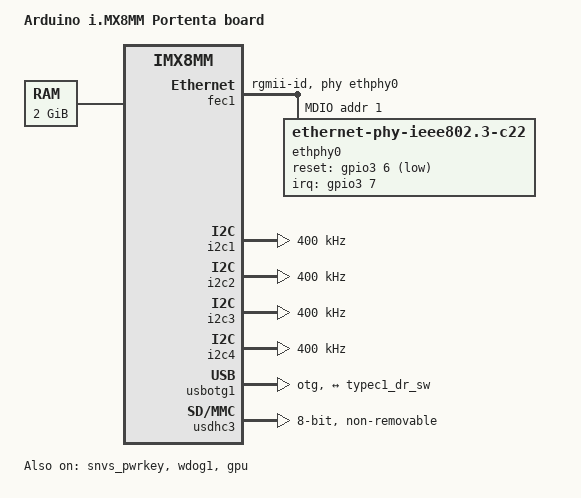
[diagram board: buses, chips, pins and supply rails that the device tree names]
/**
 * Portenta-MX8MM device tree definition file
 * Arduino 2021
 */

/dts-v1/;

#include <dt-bindings/usb/pd.h>
#include "imx8mm.dtsi"
#include "anx7625.dtsi"

/ {
	model = "Arduino i.MX8MM Portenta board";
	compatible = "fsl,imx8mm-evk", "fsl,imx8mm";

	memory@40000000 {
		device_type = "memory";
		reg = <0x0 0x40000000 0 0x80000000>;
	};
};

&ddrc {
	operating-points-v2 = <&ddrc_opp_table>;

	ddrc_opp_table: opp-table {
		compatible = "operating-points-v2";

		opp-25M {
			opp-hz = /bits/ 64 <25000000>;
		};

		opp-100M {
			opp-hz = /bits/ 64 <100000000>;
		};

		opp-750M {
			opp-hz = /bits/ 64 <750000000>;
		};
	};
};

&A53_0 {
	cpu-supply = <&buck2_reg>;
};

&A53_1 {
	cpu-supply = <&buck2_reg>;
};

&A53_2 {
	cpu-supply = <&buck2_reg>;
};

&A53_3 {
	cpu-supply = <&buck2_reg>;
};

&fec1 {
	pinctrl-names = "default";
	pinctrl-0 = <&pinctrl_fec1>;
	phy-mode = "rgmii-id";
	phy-handle = <&ethphy0>;
	fsl,magic-packet;
	status = "okay";

	mdio {
		#address-cells = <1>;
		#size-cells = <0>;

		ethphy0: ethernet-phy@0 {
			compatible = "ethernet-phy-ieee802.3-c22";
			reg = <1>;
			interrupt-parent = <&gpio3>;
			interrupts = <7 0>;
			reset-gpios = <&gpio3 6 GPIO_ACTIVE_LOW>;
			reset-assert-us = <100000>;
		};
	};
};

&i2c1 {
	clock-frequency = <400000>;
	pinctrl-names = "default";
	pinctrl-0 = <&pinctrl_i2c1>;
	status = "okay";
};

&i2c2 {
	clock-frequency = <400000>;
	pinctrl-names = "default";
	pinctrl-0 = <&pinctrl_i2c2>;
	status = "okay";
};

&i2c3 {
	clock-frequency = <400000>;
	pinctrl-names = "default";
	pinctrl-0 = <&pinctrl_i2c3>;
	status = "okay";
};

&i2c4 {
	clock-frequency = <400000>;
	pinctrl-names = "default";
	pinctrl-0 = <&pinctrl_i2c4>;
	status = "okay";
};

&snvs_pwrkey {
	status = "okay";
};

&usbotg1 { /* usbc */
	dr_mode = "otg";
	hnp-disable;
	srp-disable;
	adp-disable;
	usb-role-switch;
	disable-over-current;
	samsung,picophy-pre-emp-curr-control = <3>;
	samsung,picophy-dc-vol-level-adjust = <7>;
	status = "okay";

	port {
		usb1_drd_sw: endpoint {
			remote-endpoint = <&typec1_dr_sw>;
		};
	};
};

&usdhc3 { /* emmc flash */
	assigned-clocks = <&clk IMX8MM_CLK_USDHC3_ROOT>;
	assigned-clock-rates = <400000000>;
	pinctrl-names = "default", "state_100mhz", "state_200mhz";
	pinctrl-0 = <&pinctrl_usdhc3>;
	pinctrl-1 = <&pinctrl_usdhc3_100mhz>;
	pinctrl-2 = <&pinctrl_usdhc3_200mhz>;
	bus-width = <8>;
	non-removable;
	status = "okay";
};

&wdog1 {
	pinctrl-names = "default";
	pinctrl-0 = <&pinctrl_wdog>;
	fsl,ext-reset-output;
	status = "okay";
};

&gpu {
	status = "okay";
};

&iomuxc {
	pinctrl-names = "default";
	imx8mm {
		pinctrl_fec1: fec1grp {
			fsl,pins = <
				MX8MM_IOMUXC_ENET_MDC_ENET1_MDC			0x3
				MX8MM_IOMUXC_ENET_MDIO_ENET1_MDIO		0x3
				MX8MM_IOMUXC_ENET_TD3_ENET1_RGMII_TD3		0x1f
				MX8MM_IOMUXC_ENET_TD2_ENET1_RGMII_TD2		0x1f
				MX8MM_IOMUXC_ENET_TD1_ENET1_RGMII_TD1		0x1f
				MX8MM_IOMUXC_ENET_TD0_ENET1_RGMII_TD0		0x1f
				MX8MM_IOMUXC_ENET_RD3_ENET1_RGMII_RD3		0x91
				MX8MM_IOMUXC_ENET_RD2_ENET1_RGMII_RD2		0x91
				MX8MM_IOMUXC_ENET_RD1_ENET1_RGMII_RD1		0x91
				MX8MM_IOMUXC_ENET_RD0_ENET1_RGMII_RD0		0x91
				MX8MM_IOMUXC_ENET_TXC_ENET1_RGMII_TXC		0x1f
				MX8MM_IOMUXC_ENET_RXC_ENET1_RGMII_RXC		0x91
				MX8MM_IOMUXC_ENET_RX_CTL_ENET1_RGMII_RX_CTL	0x91
				MX8MM_IOMUXC_ENET_TX_CTL_ENET1_RGMII_TX_CTL	0x1f
				MX8MM_IOMUXC_NAND_DATA00_GPIO3_IO6		0x16
				MX8MM_IOMUXC_NAND_DATA01_GPIO3_IO7		0x41
			>;
		};

		pinctrl_i2c1: i2c1grp {
			fsl,pins = <
				MX8MM_IOMUXC_I2C1_SCL_I2C1_SCL			0x400001c3
				MX8MM_IOMUXC_I2C1_SDA_I2C1_SDA			0x400001c3
			>;
		};

		pinctrl_i2c2: i2c2grp {
			fsl,pins = <
				MX8MM_IOMUXC_I2C2_SCL_I2C2_SCL			0x400001c3
				MX8MM_IOMUXC_I2C2_SDA_I2C2_SDA			0x400001c3
			>;
		};

		pinctrl_i2c3: i2c3grp {
			fsl,pins = <
				MX8MM_IOMUXC_I2C3_SCL_I2C3_SCL			0x400001c3
				MX8MM_IOMUXC_I2C3_SDA_I2C3_SDA			0x400001c3
			>;
		};

		pinctrl_i2c4: i2c4grp {
			fsl,pins = <
				MX8MM_IOMUXC_I2C4_SCL_I2C4_SCL			0x400001c3
				MX8MM_IOMUXC_I2C4_SDA_I2C4_SDA			0x400001c3
			>;
		};

		pinctrl_usdhc3: usdhc3grp {
			fsl,pins = <
				MX8MM_IOMUXC_NAND_WE_B_USDHC3_CLK		0x190
				MX8MM_IOMUXC_NAND_WP_B_USDHC3_CMD		0x1d0
				MX8MM_IOMUXC_NAND_DATA04_USDHC3_DATA0		0x1d0
				MX8MM_IOMUXC_NAND_DATA05_USDHC3_DATA1		0x1d0
				MX8MM_IOMUXC_NAND_DATA06_USDHC3_DATA2		0x1d0
				MX8MM_IOMUXC_NAND_DATA07_USDHC3_DATA3		0x1d0
				MX8MM_IOMUXC_NAND_RE_B_USDHC3_DATA4		0x1d0
				MX8MM_IOMUXC_NAND_CE2_B_USDHC3_DATA5		0x1d0
				MX8MM_IOMUXC_NAND_CE3_B_USDHC3_DATA6		0x1d0
				MX8MM_IOMUXC_NAND_CLE_USDHC3_DATA7		0x1d0
				MX8MM_IOMUXC_NAND_CE1_B_USDHC3_STROBE 		0x190
			>;
		};

		pinctrl_usdhc3_100mhz: usdhc3grp100mhz {
			fsl,pins = <
				MX8MM_IOMUXC_NAND_WE_B_USDHC3_CLK		0x194
				MX8MM_IOMUXC_NAND_WP_B_USDHC3_CMD		0x1d4
				MX8MM_IOMUXC_NAND_DATA04_USDHC3_DATA0		0x1d4
				MX8MM_IOMUXC_NAND_DATA05_USDHC3_DATA1		0x1d4
				MX8MM_IOMUXC_NAND_DATA06_USDHC3_DATA2		0x1d4
				MX8MM_IOMUXC_NAND_DATA07_USDHC3_DATA3		0x1d4
				MX8MM_IOMUXC_NAND_RE_B_USDHC3_DATA4		0x1d4
				MX8MM_IOMUXC_NAND_CE2_B_USDHC3_DATA5		0x1d4
				MX8MM_IOMUXC_NAND_CE3_B_USDHC3_DATA6		0x1d4
				MX8MM_IOMUXC_NAND_CLE_USDHC3_DATA7		0x1d4
				MX8MM_IOMUXC_NAND_CE1_B_USDHC3_STROBE 		0x194
			>;
		};

		pinctrl_usdhc3_200mhz: usdhc3grp200mhz {
			fsl,pins = <
				MX8MM_IOMUXC_NAND_WE_B_USDHC3_CLK		0x196
				MX8MM_IOMUXC_NAND_WP_B_USDHC3_CMD		0x1d6
				MX8MM_IOMUXC_NAND_DATA04_USDHC3_DATA0		0x1d6
				MX8MM_IOMUXC_NAND_DATA05_USDHC3_DATA1		0x1d6
				MX8MM_IOMUXC_NAND_DATA06_USDHC3_DATA2		0x1d6
				MX8MM_IOMUXC_NAND_DATA07_USDHC3_DATA3		0x1d6
				MX8MM_IOMUXC_NAND_RE_B_USDHC3_DATA4		0x1d6
				MX8MM_IOMUXC_NAND_CE2_B_USDHC3_DATA5		0x1d6
				MX8MM_IOMUXC_NAND_CE3_B_USDHC3_DATA6		0x1d6
				MX8MM_IOMUXC_NAND_CLE_USDHC3_DATA7		0x1d6
				MX8MM_IOMUXC_NAND_CE1_B_USDHC3_STROBE 		0x196
			>;
		};

		pinctrl_wdog: wdoggrp {
			fsl,pins = <
				MX8MM_IOMUXC_GPIO1_IO02_WDOG1_WDOG_B		0xc6
			>;
		};
	};
};
